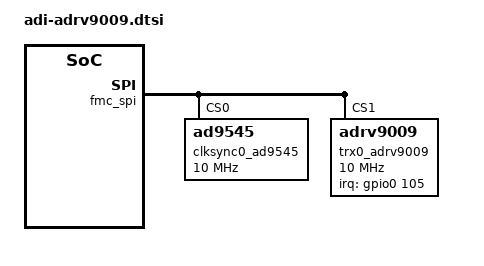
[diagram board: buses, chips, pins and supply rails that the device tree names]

#include <dt-bindings/gpio/gpio.h>
#include <dt-bindings/interrupt-controller/irq.h>

/ {
	clocks {
		adrv9009_clkin: clock@0 {
			#clock-cells = <0>;
			compatible = "fixed-clock";
			clock-frequency = <18432000>;
			clock-output-names = "adrv9009_ext_refclk";
		};
	};
};

&fmc_spi {

	clksync0_ad9545: ad9545-lpc@0 {
			#address-cells = <1>;
			#size-cells = <0>;
			#clock-cells = <1>;
			compatible = "ad9545";
			reg = <0>;

			//spi-3wire;
			spi-max-frequency = <10000000>;

			//reset-gpios = <&gpio_daq1 3 0>;

			clock-output-names = "ad9545-1_out0", "ad9545-1_out1", "ad9545-1_out2";

/include/ "ad9545map.dtsi"

			ad9545_0_c0:channel@0 {
				reg = <0>;
				extended-name = "OUT0A";
				clock-frequency = <184320000>;
			};
			ad9545_0_c1:channel@1 {
				reg = <1>;
				extended-name = "OUT0B";
				clock-frequency = <184320000>;

			};
			ad9545_0_c2:channel@2 {
				reg = <2>;
				extended-name = "OUT0C";
				clock-frequency = <184320000>;

			};
			ad9545_0_c3:channel@3 {
				reg = <3>;
				extended-name = "OUT1A";
				clock-frequency = <184320000>;

			};
			ad9545_0_c4:channel@4 {
				reg = <4>;
				extended-name = "OUT1B";
				clock-frequency = <184320000>;

			};
	};

	trx0_adrv9009: adrv9009-phy@1 {
		#address-cells = <1>;
		#size-cells = <0>;
		#clock-cells = <1>;
		compatible = "adrv9009";

		/* SPI Setup */
		reg = <1>;
		spi-max-frequency = <10000000>;

		interrupt-parent = <&gpio0>;
		interrupts = <105 IRQ_TYPE_EDGE_RISING>;

		/* Clocks */
		/*<&axi_adrv9009_rx_jesd>, <&axi_adrv9009_tx_jesd>, <&axi_adrv9009_rx_os_jesd>,*/
		clocks = <&clksync0_ad9545 2>, <&clksync0_ad9545 2>, <&clksync0_ad9545 2>, <&clksync0_ad9545 0>, <&clksync0_ad9545 1>;
		clock-names = "jesd_rx_clk", "jesd_tx_clk", "jesd_rx_os_clk", "dev_clk", "fmc_clk";
		clock-output-names = "rx_sampl_clk", "rx_os_sampl_clk", "tx_sampl_clk";

		/* JESD204 */

		/* JESD204 RX */
		adi,jesd204-framer-a-bank-id = <1>;
		adi,jesd204-framer-a-device-id = <0>;
		adi,jesd204-framer-a-lane0-id = <0>;
		adi,jesd204-framer-a-m = <4>;
		adi,jesd204-framer-a-k = <32>;
		adi,jesd204-framer-a-f = <4>;
		adi,jesd204-framer-a-np = <16>;
		adi,jesd204-framer-a-scramble = <1>;
		adi,jesd204-framer-a-external-sysref = <1>;
		adi,jesd204-framer-a-serializer-lanes-enabled = <0x0C>;
		adi,jesd204-framer-a-serializer-lane-crossbar = <0xE4>;
		adi,jesd204-framer-a-lmfc-offset = <31>;
		adi,jesd204-framer-a-new-sysref-on-relink = <0>;
		adi,jesd204-framer-a-syncb-in-select = <0>;
		adi,jesd204-framer-a-over-sample = <0>;
		adi,jesd204-framer-a-syncb-in-lvds-mode = <1>;
		adi,jesd204-framer-a-syncb-in-lvds-pn-invert = <0>;
		adi,jesd204-framer-a-enable-manual-lane-xbar = <0>;

		/* JESD204 OBS */
		adi,jesd204-framer-b-bank-id = <0>;
		adi,jesd204-framer-b-device-id = <0>;
		adi,jesd204-framer-b-lane0-id = <0>;
		adi,jesd204-framer-b-m = <2>;
		adi,jesd204-framer-b-k = <32>;
		adi,jesd204-framer-b-f = <2>;
		adi,jesd204-framer-b-np = <16>;
		adi,jesd204-framer-b-scramble = <1>;
		adi,jesd204-framer-b-external-sysref = <1>;
		adi,jesd204-framer-b-serializer-lanes-enabled = <0x03>;
		adi,jesd204-framer-b-serializer-lane-crossbar = <0xE4>;
		adi,jesd204-framer-b-lmfc-offset = <31>;
		adi,jesd204-framer-b-new-sysref-on-relink = <0>;
		adi,jesd204-framer-b-syncb-in-select = <1>;
		adi,jesd204-framer-b-over-sample = <0>;
		adi,jesd204-framer-b-syncb-in-lvds-mode = <1>;
		adi,jesd204-framer-b-syncb-in-lvds-pn-invert = <0>;
		adi,jesd204-framer-b-enable-manual-lane-xbar = <0>;

		/* JESD204 TX */
		adi,jesd204-deframer-a-bank-id = <0>;
		adi,jesd204-deframer-a-device-id = <0>;
		adi,jesd204-deframer-a-lane0-id = <0>;
		adi,jesd204-deframer-a-m = <4>;
		adi,jesd204-deframer-a-k = <32>;
		adi,jesd204-deframer-a-scramble = <1>;
		adi,jesd204-deframer-a-external-sysref = <1>;
		adi,jesd204-deframer-a-deserializer-lanes-enabled = <0x0F>;
		adi,jesd204-deframer-a-deserializer-lane-crossbar = <0xE4>;
		adi,jesd204-deframer-a-lmfc-offset = <17>;
		adi,jesd204-deframer-a-new-sysref-on-relink = <0>;
		adi,jesd204-deframer-a-syncb-out-select = <0>;
		adi,jesd204-deframer-a-np = <16>;
		adi,jesd204-deframer-a-syncb-out-lvds-mode = <1>;
		adi,jesd204-deframer-a-syncb-out-lvds-pn-invert = <0>;
		adi,jesd204-deframer-a-syncb-out-cmos-slew-rate = <0>;
		adi,jesd204-deframer-a-syncb-out-cmos-drive-level = <0>;
		adi,jesd204-deframer-a-enable-manual-lane-xbar = <0>;

		adi,jesd204-ser-amplitude = <15>;
		adi,jesd204-ser-pre-emphasis = <1>;
		adi,jesd204-ser-invert-lane-polarity = <0>;
		adi,jesd204-des-invert-lane-polarity = <0>;
		adi,jesd204-des-eq-setting = <1>;
		adi,jesd204-sysref-lvds-mode = <1>;
		adi,jesd204-sysref-lvds-pn-invert = <0>;

		/* RX */

		adi,rx-profile-rx-fir-gain_db = <(-6)>;
		adi,rx-profile-rx-fir-num-fir-coefs = <48>;
		adi,rx-profile-rx-fir-coefs = /bits/ 16 <(2) (31) (47) (-29) (-109) (29) (220) (-6) (-394) (-59) (650) (193) (-1011) (-434) (1520) (851) (-2288) (-1720) (3215) (3063) (-5178) (-6772) (10332) (31570) (31570) (10332) (-6772) (-5178) (3063) (3215) (-1720) (-2288) (851) (1520) (-434) (-1011) (193) (650) (-59) (-394) (-6) (220) (29) (-109) (-29) (47) (31) (2)>;

		adi,rx-profile-rx-fir-decimation = <2>;
		adi,rx-profile-rx-dec5-decimation = <5>;
		adi,rx-profile-rhb1-decimation = <1>;
		adi,rx-profile-rx-output-rate_khz = <184320>;
		adi,rx-profile-rf-bandwidth_hz = <150000000>;
		adi,rx-profile-rx-bbf3d-bcorner_khz = <150000>;
		adi,rx-profile-rx-adc-profile = /bits/ 16 <227 149 181 90 1280 699 1300 59 1302 32 855 27 48 46 32 194 0 0 0 0 49 0 7 6 42 0 7 6 42 0 25 27 0 0 25 27 0 0 165 44 31 905>;
		adi,rx-profile-rx-ddc-mode = <0>;

		adi,rx-nco-shifter-band-a-input-band-width_khz = <0>;
		adi,rx-nco-shifter-band-a-input-center-freq_khz = <0>;
		adi,rx-nco-shifter-band-a-nco1-freq_khz = <0>;
		adi,rx-nco-shifter-band-a-nco2-freq_khz = <0>;
		adi,rx-nco-shifter-band-binput-band-width_khz = <0>;
		adi,rx-nco-shifter-band-binput-center-freq_khz = <0>;
		adi,rx-nco-shifter-band-bnco1-freq_khz = <0>;
		adi,rx-nco-shifter-band-bnco2-freq_khz = <0>;
        
		adi,rx-gain-control-gain-mode = <0>;
		adi,rx-gain-control-rx1-gain-index = <255>;
		adi,rx-gain-control-rx2-gain-index = <255>;
		adi,rx-gain-control-rx1-max-gain-index = <255>;
		adi,rx-gain-control-rx1-min-gain-index = <195>;
		adi,rx-gain-control-rx2-max-gain-index = <255>;
		adi,rx-gain-control-rx2-min-gain-index = <195>;

		adi,rx-settings-framer-sel = <0>;
		adi,rx-settings-rx-channels = <3>;

		/* ORX */

		adi,orx-profile-rx-fir-gain_db = <6>;
		adi,orx-profile-rx-fir-num-fir-coefs = <24>;
		adi,orx-profile-rx-fir-coefs = /bits/ 16  <(-26) (-39) (42) (-27) (-59) (59) (-123) (191) (-284) (446) (-1260) (18543) (-1260) (446) (-284) (191) (-123) (59) (-59) (-27) (42) (-39) (-26) (0)>;
		adi,orx-profile-rx-fir-decimation = <1>;
		adi,orx-profile-rx-dec5-decimation = <5>;
		adi,orx-profile-rhb1-decimation = <1>;
		adi,orx-profile-orx-output-rate_khz = <368640>;
		adi,orx-profile-rf-bandwidth_hz = <200000000>;
		adi,orx-profile-rx-bbf3d-bcorner_khz = <225000>;
		adi,orx-profile-orx-low-pass-adc-profile = /bits/ 16  <187 156 181 90 1280 1014 1425 177 1367 94 942 17 48 46 34 209 0 0 0 0 52 0 0 6 24 0 0 6 24 0 25 27 0 0 25 27 0 0 165 44 15 905>;
		adi,orx-profile-orx-band-pass-adc-profile = /bits/ 16  <120 153 181 90 1280 2485 1396 0 1107 516 1073 98 29 25 30 193 0 0 0 0 48 0 0 0 24 0 0 0 24 0 25 27 0 0 25 27 0 0 165 44 15 905>;
		adi,orx-profile-orx-ddc-mode = <0>;
		adi,orx-profile-orx-merge-filter = /bits/ 16  <(-356) (429) (43) (-763) (911) (59) (-1575) (2010) (71) (-4443) (8941) (21920)>;

		adi,orx-gain-control-gain-mode = <0>;
		adi,orx-gain-control-orx1-gain-index = <255>;
		adi,orx-gain-control-orx2-gain-index = <255>;
		adi,orx-gain-control-orx1-max-gain-index = <255>;
		adi,orx-gain-control-orx1-min-gain-index = <195>;
		adi,orx-gain-control-orx2-max-gain-index = <255>;
		adi,orx-gain-control-orx2-min-gain-index = <195>;

		adi,obs-settings-framer-sel = <1>;
		adi,obs-settings-obs-rx-channels-enable = <3>;
		adi,obs-settings-obs-rx-lo-source = <0>;

		/* TX */

		adi,tx-profile-tx-fir-gain_db = <6>;
		adi,tx-profile-tx-fir-num-fir-coefs = <20>;
		adi,tx-profile-tx-fir-coefs = /bits/ 16  <(-34) (8) (-77) (111) (-199) (351) (-671) (1527) (-3420) (20671) (-3420) (1527) (-671) (351) (-199) (111) (-77) (8) (-34) (0)>;

		adi,tx-profile-dac-div = <1>;

		adi,tx-profile-tx-fir-interpolation = <1>;
		adi,tx-profile-thb1-interpolation = <1>;
		adi,tx-profile-thb2-interpolation = <1>;
		adi,tx-profile-thb3-interpolation = <1>;
		adi,tx-profile-tx-int5-interpolation = <5>;
		adi,tx-profile-tx-input-rate_khz = <368640>;
		adi,tx-profile-primary-sig-bandwidth_hz = <150000000>;
		adi,tx-profile-rf-bandwidth_hz = <300000000>;
		adi,tx-profile-tx-dac3d-bcorner_khz = <300000>;
		adi,tx-profile-tx-bbf3d-bcorner_khz = <152000>;
		adi,tx-profile-loop-back-adc-profile = /bits/ 16 <190 163 181 90 1280 995 1507 266 1338 94 921 17 48 45 34 207 0 0 0 0 52 0 0 6 24 0 0 6 24 0 25 27 0 0 25 27 0 0 165 44 15 905>;

		adi,tx-settings-deframer-sel = <0>;
		adi,tx-settings-tx-channels = <3>;
		adi,tx-settings-tx-atten-step-size = <0>;
		adi,tx-settings-tx1-atten_md-b = <10000>;
		adi,tx-settings-tx2-atten_md-b = <10000>;
		adi,tx-settings-dis-tx-data-if-pll-unlock = <0>;

		/* Clocks */

		adi,dig-clocks-device-clock_khz = <184320>;
		adi,dig-clocks-clk-pll-vco-freq_khz = <7372800>;
		adi,dig-clocks-clk-pll-hs-div = <0>;
		adi,dig-clocks-rf-pll-use-external-lo = <0>;
		adi,dig-clocks-rf-pll-phase-sync-mode = <0>;

		/* AGC */

		//adi,rxagc-peak-agc-under-range-low-interval_ns = <205>;
		//adi,rxagc-peak-agc-under-range-mid-interval = <2>;
		//adi,rxagc-peak-agc-under-range-high-interval = <4>;
		//adi,rxagc-peak-apd-high-thresh = <39>;
		//adi,rxagc-peak-apd-low-gain-mode-high-thresh = <36>;
		//adi,rxagc-peak-apd-low-thresh = <23>;
		//adi,rxagc-peak-apd-low-gain-mode-low-thresh = <19>;
		//adi,rxagc-peak-apd-upper-thresh-peak-exceeded-cnt = <6>;
		//adi,rxagc-peak-apd-lower-thresh-peak-exceeded-cnt = <3>;
		//adi,rxagc-peak-apd-gain-step-attack = <4>;
		//adi,rxagc-peak-apd-gain-step-recovery = <2>;
		//adi,rxagc-peak-enable-hb2-overload = <1>;
		//adi,rxagc-peak-hb2-overload-duration-cnt = <1>;
		//adi,rxagc-peak-hb2-overload-thresh-cnt = <4>;
		//adi,rxagc-peak-hb2-high-thresh = <181>;
		//adi,rxagc-peak-hb2-under-range-low-thresh = <45>;
		//adi,rxagc-peak-hb2-under-range-mid-thresh = <90>;
		//adi,rxagc-peak-hb2-under-range-high-thresh = <128>;
		//adi,rxagc-peak-hb2-upper-thresh-peak-exceeded-cnt = <6>;
		//adi,rxagc-peak-hb2-lower-thresh-peak-exceeded-cnt = <3>;
		//adi,rxagc-peak-hb2-gain-step-high-recovery = <2>;
		//adi,rxagc-peak-hb2-gain-step-low-recovery = <4>;
		//adi,rxagc-peak-hb2-gain-step-mid-recovery = <8>;
		//adi,rxagc-peak-hb2-gain-step-attack = <4>;
		//adi,rxagc-peak-hb2-overload-power-mode = <1>;
		//adi,rxagc-peak-hb2-ovrg-sel = <0>;
		//adi,rxagc-peak-hb2-thresh-config = <3>;
        //
		//adi,rxagc-power-power-enable-measurement = <0>;
		//adi,rxagc-power-power-use-rfir-out = <1>;
		//adi,rxagc-power-power-use-bbdc2 = <0>;
		//adi,rxagc-power-under-range-high-power-thresh = <9>;
		//adi,rxagc-power-under-range-low-power-thresh = <2>;
		//adi,rxagc-power-under-range-high-power-gain-step-recovery = <4>;
		//adi,rxagc-power-under-range-low-power-gain-step-recovery = <4>;
		//adi,rxagc-power-power-measurement-duration = <5>;
		//adi,rxagc-power-rx1-tdd-power-meas-duration = <5>;
		//adi,rxagc-power-rx1-tdd-power-meas-delay = <1>;
		//adi,rxagc-power-rx2-tdd-power-meas-duration = <5>;
		//adi,rxagc-power-rx2-tdd-power-meas-delay = <1>;
		//adi,rxagc-power-upper0-power-thresh = <2>;
		//adi,rxagc-power-upper1-power-thresh = <0>;
		//adi,rxagc-power-power-log-shift = <0>;
        //
		//adi,rxagc-agc-peak-wait-time = <4>;
		//adi,rxagc-agc-rx1-max-gain-index = <255>;
		//adi,rxagc-agc-rx1-min-gain-index = <195>;
		//adi,rxagc-agc-rx2-max-gain-index = <255>;
		//adi,rxagc-agc-rx2-min-gain-index = <195>;
		//adi,rxagc-agc-gain-update-counter_us = <250>;
		//adi,rxagc-agc-rx1-attack-delay = <10>;
		//adi,rxagc-agc-rx2-attack-delay = <10>;
		//adi,rxagc-agc-slow-loop-settling-delay = <16>;
		//adi,rxagc-agc-low-thresh-prevent-gain = <0>;
		//adi,rxagc-agc-change-gain-if-thresh-high = <1>;
		//adi,rxagc-agc-peak-thresh-gain-control-mode = <1>;
		//adi,rxagc-agc-reset-on-rxon = <0>;
		//adi,rxagc-agc-enable-sync-pulse-for-gain-counter = <0>;
		//adi,rxagc-agc-enable-ip3-optimization-thresh = <0>;
		//adi,rxagc-ip3-over-range-thresh = <31>;
		//adi,rxagc-ip3-over-range-thresh-index = <246>;
		//adi,rxagc-ip3-peak-exceeded-cnt = <4>;
		//adi,rxagc-agc-enable-fast-recovery-loop = <0>;
        //
        //
		///* Misc */
        //
		//adi,aux-dac-enables = <0x00>; /* Mask */
        //
		//adi,aux-dac-vref0 = <3>;
		//adi,aux-dac-resolution0 = <0>;
		//adi,aux-dac-values0 = <0>;
		//adi,aux-dac-vref1 = <3>;
		//adi,aux-dac-resolution1 = <0>;
		//adi,aux-dac-values1 = <0>;
		//adi,aux-dac-vref2 = <3>;
		//adi,aux-dac-resolution2 = <0>;
		//adi,aux-dac-values2 = <0>;
		//adi,aux-dac-vref3 = <3>;
		//adi,aux-dac-resolution3 = <0>;
		//adi,aux-dac-values3 = <0>;
		//adi,aux-dac-vref4 = <3>;
		//adi,aux-dac-resolution4 = <0>;
		//adi,aux-dac-values4 = <0>;
		//adi,aux-dac-vref5 = <3>;
		//adi,aux-dac-resolution5 = <0>;
		//adi,aux-dac-values5 = <0>;
		//adi,aux-dac-vref6 = <3>;
		//adi,aux-dac-resolution6 = <0>;
		//adi,aux-dac-values6 = <0>;
		//adi,aux-dac-vref7 = <3>;
		//adi,aux-dac-resolution7 = <0>;
		//adi,aux-dac-values7 = <0>;
		//adi,aux-dac-vref8 = <3>;
		//adi,aux-dac-resolution8 = <0>;
		//adi,aux-dac-values8 = <0>;
		//adi,aux-dac-vref9 = <3>;
		//adi,aux-dac-resolution9 = <0>;
		//adi,aux-dac-values9 = <0>;
		//adi,aux-dac-vref10 = <3>;
		//adi,aux-dac-resolution10 = <0>;
		//adi,aux-dac-values10 = <0>;
		//adi,aux-dac-vref11 = <3>;
		//adi,aux-dac-resolution11 = <0>;
		//adi,aux-dac-values11 = <0>;
        //
		//adi,arm-gpio-config-orx1-tx-sel0-pin-gpio-pin-sel = <0>;
		//adi,arm-gpio-config-orx1-tx-sel0-pin-polarity = <0>;
		//adi,arm-gpio-config-orx1-tx-sel0-pin-enable = <0>;
        //
		//adi,arm-gpio-config-orx1-tx-sel1-pin-gpio-pin-sel = <0>;
		//adi,arm-gpio-config-orx1-tx-sel1-pin-polarity = <0>;
		//adi,arm-gpio-config-orx1-tx-sel1-pin-enable = <0>;
		//adi,arm-gpio-config-orx2-tx-sel0-pin-gpio-pin-sel = <0>;
		//adi,arm-gpio-config-orx2-tx-sel0-pin-polarity = <0>;
		//adi,arm-gpio-config-orx2-tx-sel0-pin-enable = <0>;
        //
		//adi,arm-gpio-config-orx2-tx-sel1-pin-gpio-pin-sel = <0>;
		//adi,arm-gpio-config-orx2-tx-sel1-pin-polarity = <0>;
		//adi,arm-gpio-config-orx2-tx-sel1-pin-enable = <0>;
		//adi,arm-gpio-config-en-tx-tracking-cals-gpio-pin-sel = <0>;
		//adi,arm-gpio-config-en-tx-tracking-cals-polarity = <0>;
		//adi,arm-gpio-config-en-tx-tracking-cals-enable = <0>;
        //
		//adi,orx-lo-cfg-disable-aux-pll-relocking = <0>;
		//adi,orx-lo-cfg-gpio-select = <19>;
        //
		//adi,fhm-config-fhm-gpio-pin = <0>;
		//adi,fhm-config-fhm-min-freq_mhz = <100>;
		//adi,fhm-config-fhm-max-freq_mhz = <100>;
        //
		//adi,fhm-mode-fhm-enable = <0>;
		//adi,fhm-mode-enable-mcs-sync = <0>;
		//adi,fhm-mode-fhm-trigger-mode = <0>;
		//adi,fhm-mode-fhm-exit-mode = <0>;
		//adi,fhm-mode-fhm-init-frequency_hz = <2450000000>;
        //
		//adi,rx1-gain-ctrl-pin-inc-step = <1>;
		//adi,rx1-gain-ctrl-pin-dec-step = <1>;
		//adi,rx1-gain-ctrl-pin-rx-gain-inc-pin = <0>;
		//adi,rx1-gain-ctrl-pin-rx-gain-dec-pin = <1>;
		//adi,rx1-gain-ctrl-pin-enable = <0>;
        //
		//adi,rx2-gain-ctrl-pin-inc-step = <1>;
		//adi,rx2-gain-ctrl-pin-dec-step = <1>;
		//adi,rx2-gain-ctrl-pin-rx-gain-inc-pin = <3>;
		//adi,rx2-gain-ctrl-pin-rx-gain-dec-pin = <4>;
		//adi,rx2-gain-ctrl-pin-enable = <0>;
        //
		//adi,tx1-atten-ctrl-pin-step-size = <0>;
		//adi,tx1-atten-ctrl-pin-tx-atten-inc-pin = <4>;
		//adi,tx1-atten-ctrl-pin-tx-atten-dec-pin = <5>;
		//adi,tx1-atten-ctrl-pin-enable = <0>;
        //
		//adi,tx2-atten-ctrl-pin-step-size = <0>;
		//adi,tx2-atten-ctrl-pin-tx-atten-inc-pin = <6>;
		//adi,tx2-atten-ctrl-pin-tx-atten-dec-pin = <7>;
		//adi,tx2-atten-ctrl-pin-enable = <0>;
        //
		//adi,tx-pa-protection-avg-duration = <3>;
		//adi,tx-pa-protection-tx-atten-step = <2>;
		//adi,tx-pa-protection-tx1-power-threshold = <128>;
		//adi,tx-pa-protection-tx2-power-threshold = <128>;
		//adi,tx-pa-protection-peak-count = <4>;
		//adi,tx-pa-protection-tx1-peak-threshold = <16>;
		//adi,tx-pa-protection-tx2-peak-threshold = <16>;
	};
};

